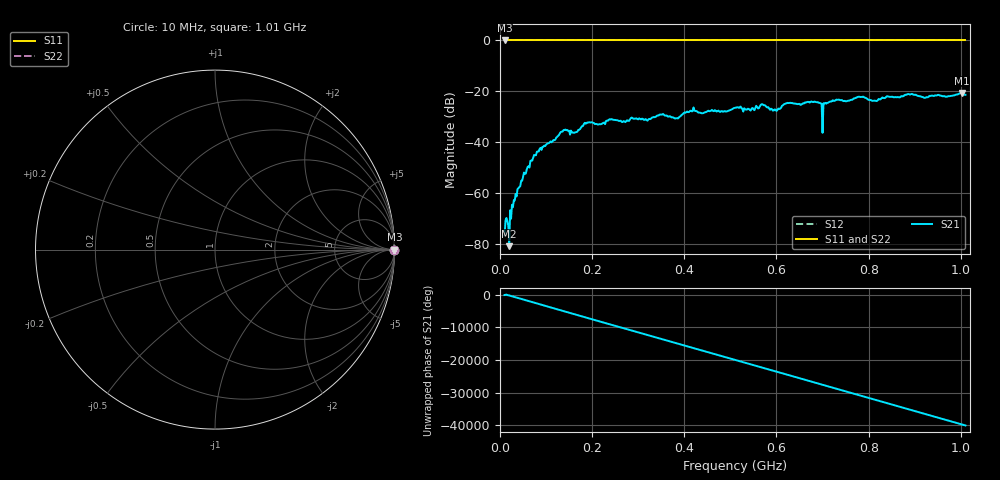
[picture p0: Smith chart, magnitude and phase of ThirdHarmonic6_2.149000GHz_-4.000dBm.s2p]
! 8/17/2025 1:39:35 AM
! C:\ANRITSUVNA\TEMP\TEMP.S2P
! CHANNEL.1
! TR.MEASUREMENT
! RAW.DATA
! RF.CORRECTION.OFF
! AVERAGING.OFF
! IF.BANDWIDTH: 5KHZ
! SWEEPTYPE:  FREQ.SWEEP(Linear)
! Reference Plane Port Info
! PORT:  PORT1  PORT2
! DISTANCE:  0  m  0  m
! TIME:  0  s  0  s
! PHASE.OFFSET:  0  deg.  0  deg.
! LOSS:  0  dB  0  dB
! REF.LOSS:  0  dB  0  dB
! REF.FREQ:  0  Hz  0  Hz
! Power Info
! POWER:  -20  dBm  -20  dBm
! EFF.POWER:  -20  dBm  -20  dBm
! SOURCE.ATTEN:  0  dB  0  dB
! TEST.ATTEN:  0  dB  0  dB
# GHZ S RI R 50.0
! FREQ.GHZ  S11RE  S11IM  S21RE  S21IM  S12RE  S12IM  S22RE  S22IM
!; PortSelection: Port_12
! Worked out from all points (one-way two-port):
!   501 points, 10 MHz to 1.01 GHz, reference 50 ohm
!   highest |S21| = -20.64 dB at 1.002 GHz (marker M1); lowest = -80.8 dB at 20 MHz (marker M2)
!   lowest |S11| = 0.0 dB at 10 MHz (marker M3)
!   |S11| at or under -10 dB: nowhere
!   |S22| runs from 0.0 to 0.0 dB; largest |S21 - S12| = 1.1
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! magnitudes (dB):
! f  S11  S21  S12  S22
! 10 MHz  0.0  -76.6  0.0  0.0
! 20 MHz  0.0  -80.8  0.0  0.0
! 26 MHz  0.0  -64.5  0.0  0.0
! 38 MHz  0.0  -58.4  0.0  0.0
! 78 MHz  0.0  -45.1  0.0  0.0
! 136 MHz  0.0  -35.8  0.0  0.0
! 164 MHz  0.0  -36.0  0.0  0.0
! 178 MHz  0.0  -33.7  0.0  0.0
! 344 MHz  0.0  -29.5  0.0  0.0
! 384 MHz  0.0  -30.5  0.0  0.0
! 416 MHz  0.0  -27.8  0.0  0.0
! 510 MHz  0.0  -26.5  0.0  0.0
! 570 MHz  0.0  -25.1  0.0  0.0
! 596 MHz  0.0  -27.1  0.0  0.0
! 678 MHz  0.0  -24.1  0.0  0.0
! 694 MHz  0.0  -24.5  0.0  0.0
! 700 MHz  0.0  -36.3  0.0  0.0
! 706 MHz  0.0  -24.5  0.0  0.0
! 732 MHz  0.0  -23.3  0.0  0.0
! 844 MHz  0.0  -22.1  0.0  0.0
! 1.002 GHz  0.0  -20.6  0.0  0.0
! 1.01 GHz  0.0  -21.3  0.0  0.0
